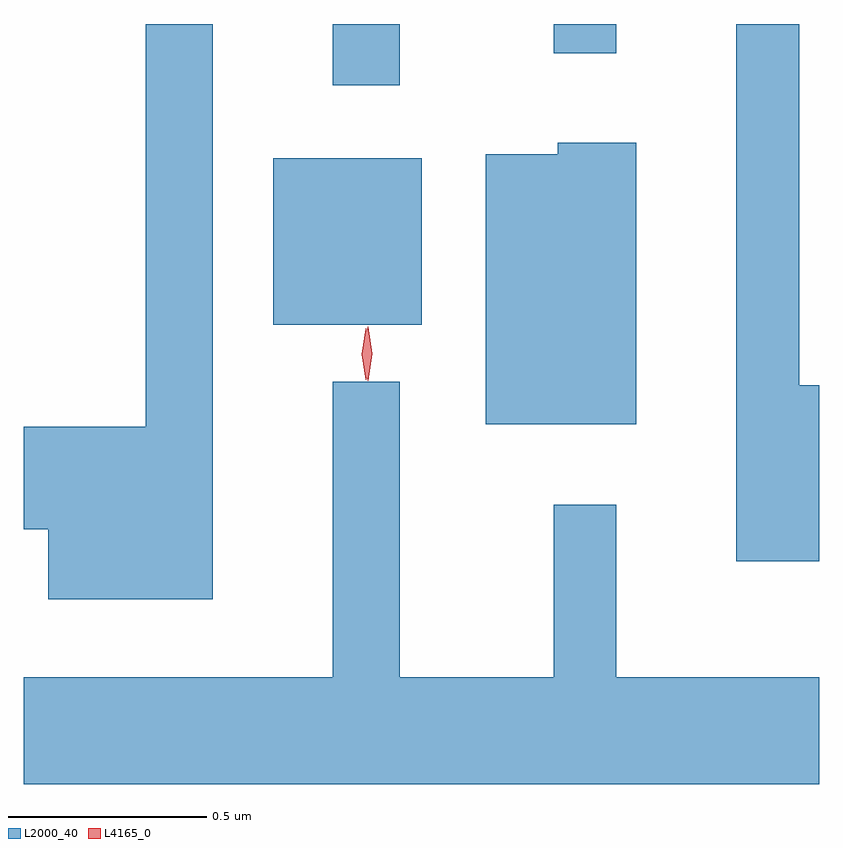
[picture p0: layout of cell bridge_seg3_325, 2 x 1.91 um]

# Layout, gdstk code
import gdstk
lib = gdstk.Library(unit=1e-6, precision=1e-09)
def R(c, l, rs):  # rectangles x0, y0, x1, y1
    for r in rs: c.add(gdstk.rectangle(r[:2], r[2:], *l))
def P(c, l, *ps):  # polygons
    for p in ps: c.add(gdstk.Polygon(p, *l))
L2000_40 = (2000, 40)
L4165_0 = (4165, 0)

bridge_seg3_325 = lib.new_cell('bridge_seg3_325')
R(bridge_seg3_325, L2000_40, [(564.401,1213.751,564.774,1214.169), (564.551,1214.353,564.719,1214.507), (565.106,1214.433,565.264,1214.507)])
P(bridge_seg3_325, L2000_40, [(564.249,1214.507),(564.081,1214.507),(564.081,1213.494),(563.774,1213.494),(563.774,1213.236),(563.836,1213.236),(563.836,1213.061),(564.249,1213.061)],
  [(565.774,1213.599),(565.724,1213.599),(565.724,1214.507),(565.566,1214.507),(565.566,1213.156),(565.774,1213.156)],
  [(565.314,1214.209),(565.116,1214.209),(565.116,1214.179),(564.936,1214.179),(564.936,1213.501),(565.314,1213.501)],
  [(565.774,1212.864),(565.264,1212.864),(565.264,1213.298),(565.106,1213.298),(565.106,1212.864),(564.719,1212.864),(564.719,1213.608),(564.551,1213.608),(564.551,1212.864),(563.774,1212.864),(563.774,1212.596),(565.774,1212.596)])
P(bridge_seg3_325, L4165_0, [(564.634,1213.613),(564.634,1213.613),(564.624,1213.677),(564.634,1213.741),(564.634,1213.742),(564.635,1213.741),(564.644,1213.677),(564.635,1213.613)],
  [(564.639,1213.61),(564.63,1213.678),(564.639,1213.746),(564.64,1213.746),(564.64,1213.746),(564.65,1213.678),(564.64,1213.61),(564.64,1213.61)])

lib.write_gds('bridge_seg3_325.gds')
